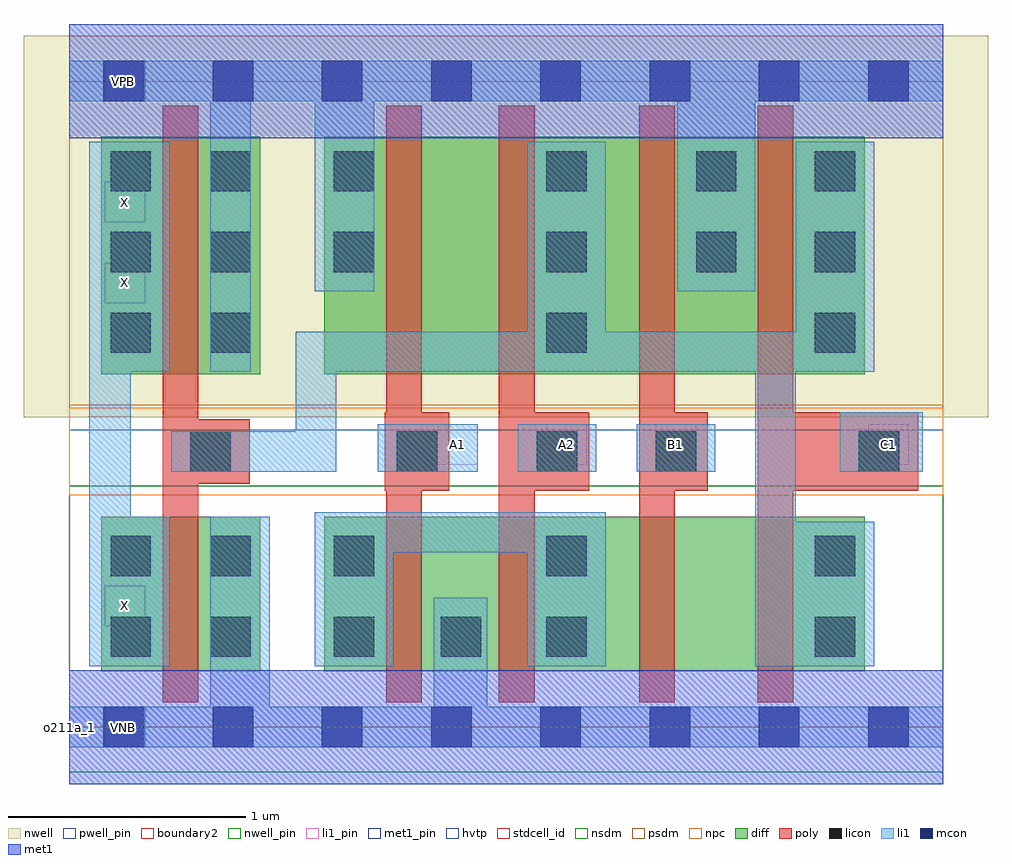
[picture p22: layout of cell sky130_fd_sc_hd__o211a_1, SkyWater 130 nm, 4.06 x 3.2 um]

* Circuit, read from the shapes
.subckt sky130_fd_sc_hd__o211a_1 A1 A2 B1 C1 VGND VNB VPB VPWR X
XM1 VGND n1 X VNB sky130_fd_pr__nfet_01v8 w=0.65 l=0.15
XM2 VGND A1 n2 VNB sky130_fd_pr__nfet_01v8 w=0.65 l=0.15
XM3 n2 A2 VGND VNB sky130_fd_pr__nfet_01v8 w=0.65 l=0.15
XM4 n3 B1 n2 VNB sky130_fd_pr__nfet_01v8 w=0.65 l=0.15
XM5 n1 C1 n3 VNB sky130_fd_pr__nfet_01v8 w=0.65 l=0.15
XM6 VPWR n1 X VPB sky130_fd_pr__pfet_01v8_hvt w=1 l=0.15
XM7 n4 A1 VPWR VPB sky130_fd_pr__pfet_01v8_hvt w=1 l=0.15
XM8 n1 A2 n4 VPB sky130_fd_pr__pfet_01v8_hvt w=1 l=0.15
XM9 VPWR B1 n1 VPB sky130_fd_pr__pfet_01v8_hvt w=1 l=0.15
XM10 n1 C1 VPWR VPB sky130_fd_pr__pfet_01v8_hvt w=1 l=0.15
.ends

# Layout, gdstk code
import gdstk
lib = gdstk.Library(unit=1e-6, precision=1e-09)
def R(c, l, rs):  # rectangles x0, y0, x1, y1
    for r in rs: c.add(gdstk.rectangle(r[:2], r[2:], *l))
def A(c, l, x, y, w, h, nx, ny, dx, dy):  # array of equal rectangles
    R(c, l, [(x+i*dx, y+j*dy, x+i*dx+w, y+j*dy+h) for i in range(nx) for j in range(ny)])
def P(c, l, *ps):  # polygons
    for p in ps: c.add(gdstk.Polygon(p, *l))
nwell_pin = (64, 16)
nwell = (64, 20)
diff = (65, 20)
poly = (66, 20)
licon = (66, 44)
li1_pin = (67, 16)
li1 = (67, 20)
mcon = (67, 44)
met1_pin = (68, 16)
met1 = (68, 20)
hvtp = (78, 44)
stdcell_id = (81, 4)
nsdm = (93, 44)
psdm = (94, 20)
npc = (95, 20)
pwell_pin = (122, 16)
boundary2 = (236, 0)

sky130_fd_sc_hd__o211a_1 = lib.new_cell('sky130_fd_sc_hd__o211a_1')
R(sky130_fd_sc_hd__o211a_1, nwell_pin, [(0.15,2.635,0.32,2.805)])
R(sky130_fd_sc_hd__o211a_1, nwell, [(-0.19,1.305,3.87,2.91)])
R(sky130_fd_sc_hd__o211a_1, diff, [(0.135,0.235,0.805,0.885), (1.075,0.235,3.35,0.885), (0.135,1.485,0.805,2.485), (1.075,1.485,3.35,2.485)])
P(sky130_fd_sc_hd__o211a_1, poly, [(0.76,1.295),(0.545,1.295),(0.545,2.615),(0.395,2.615),(0.395,0.105),(0.545,0.105),(0.545,1.025),(0.76,1.025)],
  [(3.575,1.325),(3.05,1.325),(3.05,2.615),(2.9,2.615),(2.9,0.105),(3.05,0.105),(3.05,0.995),(3.575,0.995)],
  [(2.69,1.325),(2.55,1.325),(2.55,2.615),(2.4,2.615),(2.4,0.105),(2.55,0.105),(2.55,0.995),(2.69,0.995)],
  [(2.19,1.325),(1.96,1.325),(1.96,2.615),(1.81,2.615),(1.81,0.105),(1.96,0.105),(1.96,0.995),(2.19,0.995)],
  [(1.6,1.325),(1.485,1.325),(1.485,2.615),(1.335,2.615),(1.335,1.325),(1.33,1.325),(1.33,0.995),(1.335,0.995),(1.335,0.105),(1.485,0.105),(1.485,0.995),(1.6,0.995)])
A(sky130_fd_sc_hd__o211a_1, licon, 0.175, 1.575, 0.17, 0.17, 1, 3, 0, 0.34)
A(sky130_fd_sc_hd__o211a_1, licon, 0.595, 1.575, 0.17, 0.17, 1, 3, 0, 0.34)
A(sky130_fd_sc_hd__o211a_1, licon, 2.01, 1.575, 0.17, 0.17, 1, 3, 0, 0.34)
A(sky130_fd_sc_hd__o211a_1, licon, 3.14, 1.575, 0.17, 0.17, 1, 3, 0, 0.34)
R(sky130_fd_sc_hd__o211a_1, licon, [(0.175,0.295,0.345,0.465), (0.595,0.295,0.765,0.465), (1.115,0.295,1.285,0.465), (1.565,0.295,1.735,0.465), (2.01,0.295,2.18,0.465), (3.14,0.295,3.31,0.465), (0.175,0.635,0.345,0.805), (0.595,0.635,0.765,0.805), (1.115,0.635,1.285,0.805), (2.01,0.635,2.18,0.805), (3.14,0.635,3.31,0.805), (0.51,1.075,0.68,1.245), (1.38,1.075,1.55,1.245), (1.97,1.075,2.14,1.245), (2.47,1.075,2.64,1.245), (3.325,1.075,3.495,1.245), (1.115,1.915,1.285,2.085), (2.64,1.915,2.81,2.085), (1.115,2.255,1.285,2.425), (2.64,2.255,2.81,2.425)])
A(sky130_fd_sc_hd__o211a_1, li1_pin, 1.55, 1.105, 0.17, 0.17, 3, 1, 0.46, 0)
R(sky130_fd_sc_hd__o211a_1, li1_pin, [(0.15,0.425,0.32,0.595), (3.365,1.105,3.535,1.275), (0.15,1.785,0.32,1.955), (0.15,2.125,0.32,2.295)])
R(sky130_fd_sc_hd__o211a_1, li1, [(1.3,1.075,1.72,1.275), (1.89,1.075,2.22,1.275), (2.39,1.075,2.72,1.275), (3.245,1.075,3.595,1.325)])
P(sky130_fd_sc_hd__o211a_1, li1, [(3.39,0.865),(3.06,0.865),(3.06,1.495),(3.39,1.495),(3.39,2.465),(3.06,2.465),(3.06,1.665),(2.26,1.665),(2.26,2.465),(1.93,2.465),(1.93,1.665),(0.955,1.665),(0.955,1.245),(0.43,1.245),(0.43,1.075),(1.125,1.075),(1.125,1.495),(2.89,1.495),(2.89,0.255),(3.39,0.255)],
  [(3.68,0.085),(1.76,0.085),(1.76,0.545),(1.535,0.545),(1.535,0.085),(0.845,0.085),(0.845,0.885),(0.595,0.885),(0.595,0.085),(0,0.085),(0,-0.085),(3.68,-0.085)],
  [(3.68,2.805),(0,2.805),(0,2.635),(0.595,2.635),(0.595,1.495),(0.765,1.495),(0.765,2.635),(1.035,2.635),(1.035,1.835),(1.285,1.835),(1.285,2.635),(2.56,2.635),(2.56,1.835),(2.89,1.835),(2.89,2.635),(3.68,2.635)],
  [(0.425,0.885),(0.26,0.885),(0.26,1.495),(0.425,1.495),(0.425,2.465),(0.085,2.465),(0.085,0.255),(0.425,0.255)],
  [(2.26,0.905),(1.035,0.905),(1.035,0.255),(1.365,0.255),(1.365,0.735),(1.93,0.735),(1.93,0.255),(2.26,0.255)])
A(sky130_fd_sc_hd__o211a_1, mcon, 0.145, -0.085, 0.17, 0.17, 8, 2, 0.46, 2.72)
R(sky130_fd_sc_hd__o211a_1, met1_pin, [(0.15,-0.085,0.32,0.085), (0.15,2.635,0.32,2.805)])
R(sky130_fd_sc_hd__o211a_1, hvtp, [(0,1.25,3.68,2.72)])
R(sky130_fd_sc_hd__o211a_1, stdcell_id, [(0,0,3.68,2.72)])
R(sky130_fd_sc_hd__o211a_1, nsdm, [(0,-0.19,3.68,1.015)])
R(sky130_fd_sc_hd__o211a_1, psdm, [(0,1.355,3.68,2.91)])
R(sky130_fd_sc_hd__o211a_1, npc, [(0,0.975,3.68,1.345)])
R(sky130_fd_sc_hd__o211a_1, pwell_pin, [(0.15,-0.085,0.32,0.085)])
R(sky130_fd_sc_hd__o211a_1, boundary2, [(0,0,3.68,2.72)])
sky130_fd_sc_hd__o211a_1.add(gdstk.FlexPath([(0,2.72),(3.68,2.72)], 0.48, ends="flush", simple_path=True, layer=68, datatype=20))  # met1
sky130_fd_sc_hd__o211a_1.add(gdstk.FlexPath([(0,0),(3.68,0)], 0.48, ends="flush", simple_path=True, layer=68, datatype=20))  # met1
sky130_fd_sc_hd__o211a_1.add(gdstk.Label('C1', (3.45,1.19), layer=67, texttype=5))
sky130_fd_sc_hd__o211a_1.add(gdstk.Label('B1', (2.555,1.19), layer=67, texttype=5))
sky130_fd_sc_hd__o211a_1.add(gdstk.Label('A2', (2.095,1.19), layer=67, texttype=5))
sky130_fd_sc_hd__o211a_1.add(gdstk.Label('A1', (1.635,1.19), layer=67, texttype=5))
sky130_fd_sc_hd__o211a_1.add(gdstk.Label('X', (0.235,0.51), layer=67, texttype=5))
sky130_fd_sc_hd__o211a_1.add(gdstk.Label('X', (0.235,2.21), layer=67, texttype=5))
sky130_fd_sc_hd__o211a_1.add(gdstk.Label('X', (0.235,1.87), layer=67, texttype=5))
sky130_fd_sc_hd__o211a_1.add(gdstk.Label('VNB', (0.23,0), layer=64, texttype=59))
sky130_fd_sc_hd__o211a_1.add(gdstk.Label('VPB', (0.23,2.72), layer=64, texttype=5))
sky130_fd_sc_hd__o211a_1.add(gdstk.Label('VGND', (0.23,0), layer=68, texttype=5))
sky130_fd_sc_hd__o211a_1.add(gdstk.Label('VPWR', (0.23,2.72), layer=68, texttype=5))
sky130_fd_sc_hd__o211a_1.add(gdstk.Label('o211a_1', (0,0), layer=83, texttype=44))

lib.write_gds('sky130_fd_sc_hd__o211a_1.gds')
